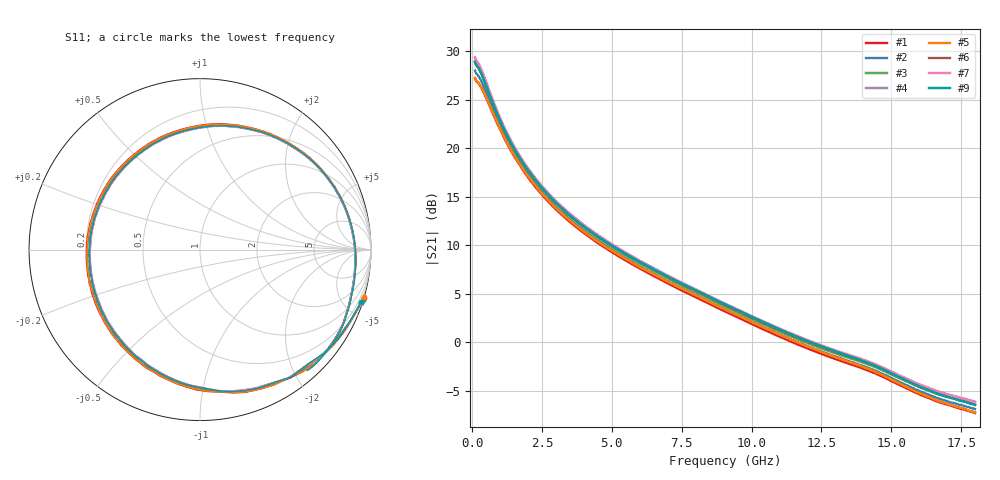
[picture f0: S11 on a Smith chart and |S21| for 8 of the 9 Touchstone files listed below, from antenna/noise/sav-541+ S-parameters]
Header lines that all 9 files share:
! Data provided by Modelithics, Inc.  Tampa, Florida USA, June 2008
!Model SAV-541+
!BEGIN ACDATA
# GHZ S MA R 50
! Scattering Parameters
!% F n11x n11y n21x n21y n12x n12y n22x n22y
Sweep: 100 MHz to 18 GHz
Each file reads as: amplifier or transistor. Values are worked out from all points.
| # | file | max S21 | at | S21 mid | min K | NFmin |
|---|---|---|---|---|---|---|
| 1 | SAV_541_S2_2V_30mA.s2p | 27.2 dB | 100 MHz | 3.1 dB at 9.05 GHz | 0.04 | 0.10 dB |
| 2 | SAV_541_S2_2V_40mA.s2p | 28.0 dB | 100 MHz | 3.4 dB at 9.05 GHz | 0.00 | 0.10 dB |
| 3 | SAV_541_S2_2V_60mA.s2p | 28.8 dB | 100 MHz | 3.7 dB at 9.05 GHz | 0.03 | 0.10 dB |
| 4 | SAV_541_S2_2V_80mA.s2p | 29.3 dB | 100 MHz | 3.9 dB at 9.05 GHz | 0.04 | 0.10 dB |
| 5 | SAV_541_S2_3V_30mA.s2p | 27.2 dB | 100 MHz | 3.3 dB at 9.05 GHz | 0.04 | 0.08 dB |
| 6 | SAV_541_S2_3V_60mA.s2p | 28.9 dB | 100 MHz | 3.8 dB at 9.05 GHz | 0.05 | 0.08 dB |
| 7 | SAV_541_S2_3V_80mA.s2p | 29.4 dB | 100 MHz | 4.0 dB at 9.05 GHz | 0.01 | 0.09 dB |
| 8 | SAV_541_S2_4V_40mA.s2p | 28.0 dB | 100 MHz | 3.7 dB at 9.05 GHz | 0.02 | 0.07 dB |
| 9 | SAV_541_S2_4V_60mA.s2p | 28.9 dB | 100 MHz | 3.9 dB at 9.05 GHz | 0.01 | 0.09 dB |
